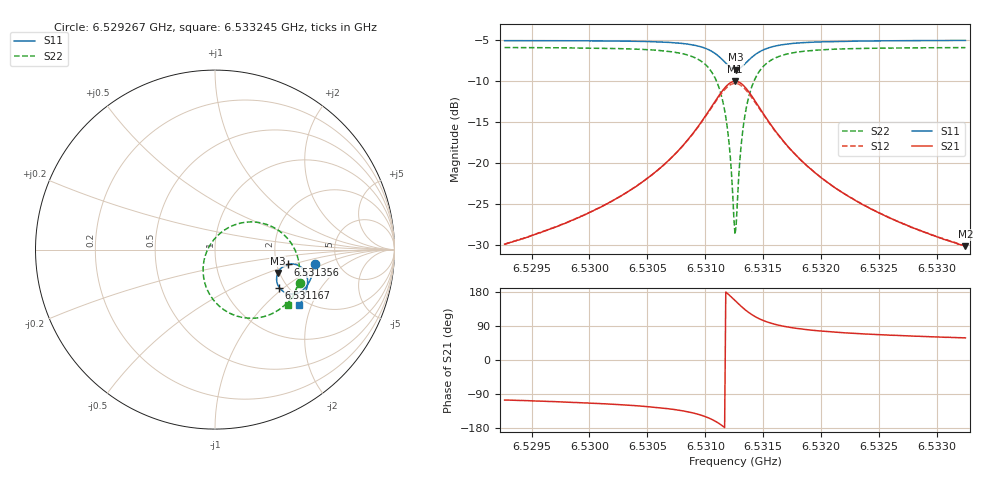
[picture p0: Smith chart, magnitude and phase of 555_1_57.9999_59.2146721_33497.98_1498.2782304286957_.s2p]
#  HZ  S  RI  R  50.00
! Rohde & Schwarz Vector Network Analyzer
! Rohde-Schwarz,ZNB20-2Port,1311601062101988,3.16
! Created: UTC 3/21/2024, 1:15:09 AM
! freq[Hz]  re:S11  im:S11  re:S21  im:S21  re:S12  im:S12  re:S22  im:S22
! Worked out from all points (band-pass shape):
!   401 points, 6.529267 GHz to 6.533245 GHz, reference 50 ohm
!   highest |S21| = -9.98 dB at 6.531256 GHz (marker M1); lowest = -30.1 dB at 6.533245 GHz (marker M2)
!   |S21| within 3 dB of the highest: 6.531059 GHz to 6.531457 GHz (398.3 kHz wide, 0.0061 % of centre)
!   lowest |S11| = -8.6 dB at 6.531266 GHz (marker M3), VSWR 2.19, Z = 98 - j29.6 ohm
!   |S11| at or under -10 dB: nowhere
!   |S22| runs from -28.7 to -5.9 dB; largest |S21 - S12| = 0.013
!   S11 on the Smith chart (normalised r, x): 6.529267 GHz: 3.36, -0.76; 6.531167 GHz: 1.81, -0.93; 6.531356 GHz: 2.30, -0.46; 6.533245 GHz: 1.82, -1.64
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6.5292672e9  0.5553 -0.0778  -0.00866 -0.0309  -0.00915 -0.0308  0.4734 -0.1873
6.5299335e9  0.5434 -0.1334  -0.0185 -0.0439  -0.0196 -0.0435  0.4406 -0.2487
6.5302816e9  0.5321 -0.1658  -0.0303 -0.0562  -0.0317 -0.0555  0.4096 -0.2889
6.5305998e9  0.5133 -0.2003  -0.0541 -0.0748  -0.0562 -0.0732  0.3554 -0.3356
6.5308285e9  0.485 -0.2295  -0.0954 -0.0937  -0.0981 -0.0905  0.2723 -0.3736
6.5309976e9  0.4397 -0.2476  -0.1656 -0.0989  -0.1678 -0.092  0.1436 -0.3761
6.5310971e9  0.3935 -0.2407  -0.2367 -0.0703  -0.2353 -0.0602  0.0249 -0.3159
6.5311667e9  0.3581 -0.2112  -0.2881 -0.00885  -0.2816 0.00128  -0.0511 -0.204
6.5312065e9  0.3452 -0.182  -0.3035 0.0461  -0.2938 0.054  -0.0665 -0.1108
6.5312363e9  0.3436 -0.1559  -0.3013 0.0929  -0.29 0.0981  -0.0547 -0.0349
6.5312462e9  0.3448 -0.1471  -0.2975 0.1084  -0.2858 0.1126  -0.0455 -0.0101
6.5312562e9  0.3472 -0.1384  -0.2918 0.1236  -0.2803 0.1267  -0.0341 0.0139
6.5312661e9  0.3503 -0.1299  -0.285 0.1383  -0.2735 0.1404  -0.0204 0.0366
6.5313159e9  0.3774 -0.0962  -0.233 0.1961  -0.2234 0.194  0.0743 0.122
6.5313556e9  0.4056 -0.0826  -0.1818 0.219  -0.175 0.2154  0.1621 0.1513
6.5314252e9  0.4506 -0.0831  -0.1039 0.2195  -0.1004 0.216  0.2926 0.1384
6.5315247e9  0.4892 -0.1067  -0.0372 0.1858  -0.0357 0.184  0.3999 0.0669
6.5316739e9  0.5111 -0.1441  0.00207 0.1366  0.00321 0.1359  0.4574 -0.0318
6.5319225e9  0.5159 -0.1881  0.0181 0.0889  0.0192 0.0885  0.4706 -0.1314
6.5322308e9  0.509 -0.2252  0.0204 0.0598  0.0214 0.0596  0.4591 -0.199
6.5325888e9  0.4968 -0.2584  0.0191 0.0423  0.02 0.0422  0.4405 -0.2477
6.5332452e9  0.4707 -0.3077  0.0164 0.0265  0.0169 0.0263  0.4058 -0.3065
